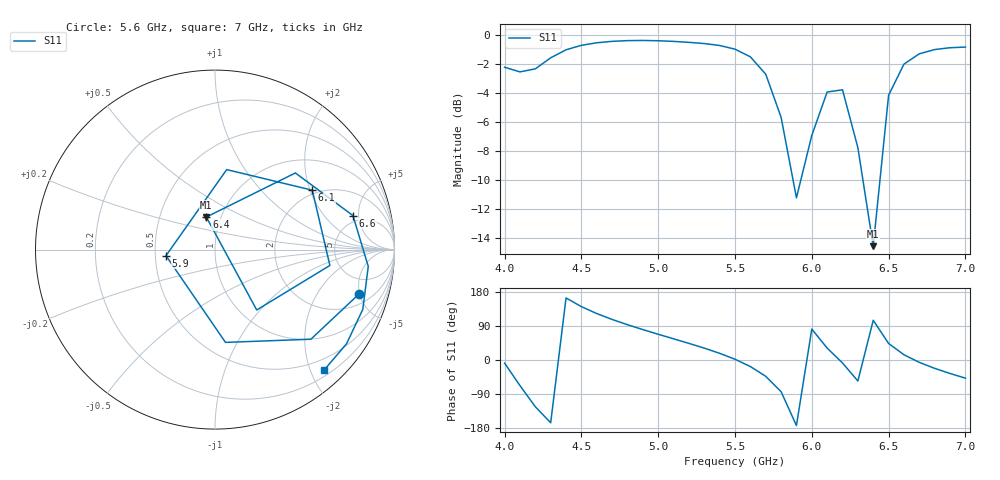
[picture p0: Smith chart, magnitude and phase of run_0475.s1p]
! Touchstone file exported from HFSS 2024.2.0
!  File:  C:/Users/wsak9/Desktop/Sim Fast/Widenad Patch/WP_AI_V1_sweep.aedt
!  Generated:  11:48:29 AM Oct 14, 2026
!  Design:  A1_model
!  Project:  WP_AI_V1_sweep
!  Setup:  Setup1
!  Solution:  Sweep
! Variables:
!  Air_gap = 4.4mm
!  Curve_Amp1 = 3.27
!  Curve_len1 = 1
!  Curve_pos = 9.87mm
!  Extra = 6.36mm
!  H_sub = 0.79mm
!  L_Patch = 15.74mm
!  L_Patch1 = 19.06mm
!  Sx = 1.69mm
!  Sy = 4.46mm
!  WS = 0.26mm
!  W_Patch = 22.81mm
!  W_Patch1 = 12.7mm
!Data is not renormalized
# GHz S MA
! Terminal data exported
! Port[1] = 1
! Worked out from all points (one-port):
!   31 points, 4 GHz to 7 GHz, reference per port
!   lowest |S11| = -14.5 dB at 6.4 GHz (marker M1), VSWR 1.46
!   |S11| at or under -10 dB: 5.878 GHz to 5.928 GHz (50.13 MHz wide, 0.849 % of centre); 6.333 GHz to 6.444 GHz (110.7 MHz wide, 1.73 % of centre)
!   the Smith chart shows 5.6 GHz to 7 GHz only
!   S11 on the Smith chart (normalised r, x): 5.6 GHz: 2.92, -4.90; 5.9 GHz: 0.57, -0.04; 6.1 GHz: 1.87, +2.07; 6.4 GHz: 0.85, +0.32; 6.6 GHz: 4.17, +4.24; 7 GHz: 0.30, -2.22
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4  0.7724 -8.3
4.1  0.7446 -67.6
4.2  0.7626 -123.4
4.3  0.8322 -165.6
4.4  0.8867 163.8
4.5  0.9187 140.8
4.6  0.9372 122.5
4.7  0.9479 107.0
4.8  0.9533 93.1
4.9  0.9546 80.2
5  0.9524 67.9
5.2  0.9405 43.8
5.4  0.9174 17.6
5.5  0.8911 1.9
5.6  0.8387 -17.2
5.7  0.7313 -43.1
5.8  0.5203 -83.6
5.9  0.2751 -172.9
6  0.4505 81.7
6.1  0.6351 31.4
6.2  0.6461 -7.9
6.3  0.409 -55.4
6.4  0.1877 104.9
6.5  0.6189 43.6
6.6  0.7917 13.9
6.7  0.859 -6.3
6.8  0.8883 -22.0
7  0.9058 -47.9
